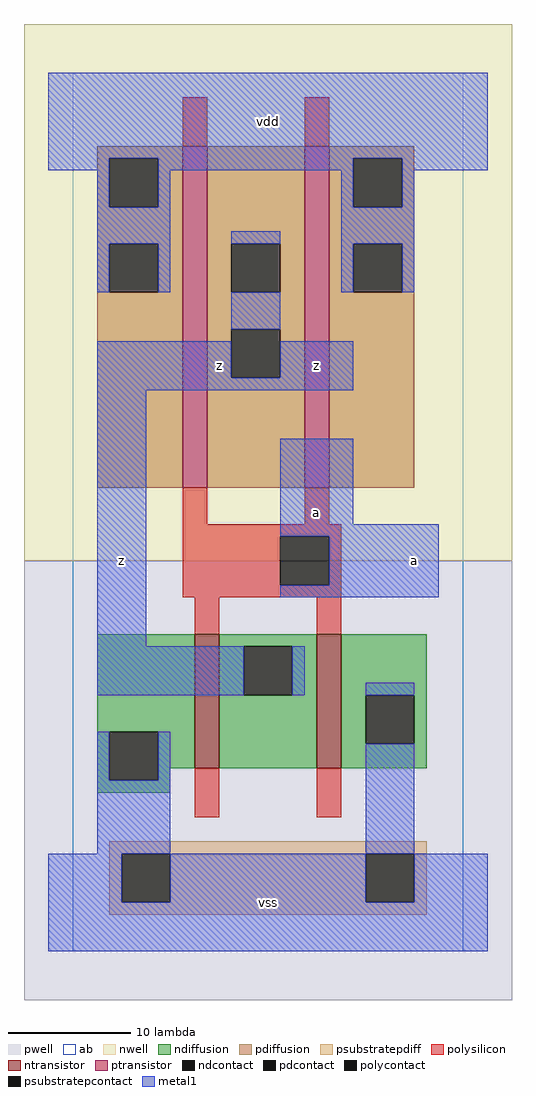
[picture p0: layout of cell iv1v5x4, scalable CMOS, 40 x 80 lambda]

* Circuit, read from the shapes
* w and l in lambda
.subckt iv1v5x4 a vdd vss z
M1 z a vss vss nfet w=11 l=2 m=2
M2 z a vdd n1 pfet w=28 l=2 m=2
.ends

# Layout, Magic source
magic
tech scmos
<< ab >>
rect 0 0 32 72
<< pwell >>
rect -4 -4 36 32
<< nwell >>
rect -4 32 36 76
<< polysilicon >>
rect 9 66 11 70
rect 19 66 21 70
rect 9 35 11 38
rect 19 35 21 38
rect 9 34 22 35
rect 9 30 17 34
rect 21 30 22 34
rect 9 29 22 30
rect 10 26 12 29
rect 20 26 22 29
rect 10 11 12 15
rect 20 11 22 15
<< ndiffusion >>
rect 2 18 10 26
rect 2 14 3 18
rect 7 15 10 18
rect 12 25 20 26
rect 12 21 14 25
rect 18 21 20 25
rect 12 15 20 21
rect 22 21 29 26
rect 22 17 24 21
rect 28 17 29 21
rect 22 15 29 17
rect 7 14 8 15
rect 2 13 8 14
<< pdiffusion >>
rect 2 65 9 66
rect 2 61 3 65
rect 7 61 9 65
rect 2 58 9 61
rect 2 54 3 58
rect 7 54 9 58
rect 2 38 9 54
rect 11 58 19 66
rect 11 54 13 58
rect 17 54 19 58
rect 11 51 19 54
rect 11 47 13 51
rect 17 47 19 51
rect 11 38 19 47
rect 21 65 28 66
rect 21 61 23 65
rect 27 61 28 65
rect 21 58 28 61
rect 21 54 23 58
rect 27 54 28 58
rect 21 38 28 54
<< metal1 >>
rect -2 65 34 72
rect -2 64 3 65
rect 2 61 3 64
rect 7 64 23 65
rect 7 61 8 64
rect 2 58 8 61
rect 22 61 23 64
rect 27 64 34 65
rect 27 61 28 64
rect 2 54 3 58
rect 7 54 8 58
rect 13 58 17 59
rect 22 58 28 61
rect 22 54 23 58
rect 27 54 28 58
rect 13 51 17 54
rect 2 47 13 50
rect 17 47 23 50
rect 2 46 23 47
rect 2 25 6 46
rect 17 35 23 42
rect 17 34 30 35
rect 21 30 30 34
rect 17 29 30 30
rect 2 21 14 25
rect 18 21 19 25
rect 24 21 28 22
rect 2 14 3 18
rect 7 14 8 18
rect 2 8 8 14
rect 24 8 28 17
rect -2 4 4 8
rect 8 4 24 8
rect 28 4 34 8
rect -2 0 34 4
<< ntransistor >>
rect 10 15 12 26
rect 20 15 22 26
<< ptransistor >>
rect 9 38 11 66
rect 19 38 21 66
<< polycontact >>
rect 17 30 21 34
<< ndcontact >>
rect 3 14 7 18
rect 14 21 18 25
rect 24 17 28 21
<< pdcontact >>
rect 3 61 7 65
rect 3 54 7 58
rect 13 54 17 58
rect 13 47 17 51
rect 23 61 27 65
rect 23 54 27 58
<< psubstratepcontact >>
rect 4 4 8 8
rect 24 4 28 8
<< psubstratepdiff >>
rect 3 8 29 9
rect 3 4 4 8
rect 8 4 24 8
rect 28 4 29 8
rect 3 3 29 4
<< labels >>
rlabel metal1 4 32 4 32 6 z
rlabel metal1 12 48 12 48 6 z
rlabel metal1 16 4 16 4 6 vss
rlabel metal1 20 36 20 36 6 a
rlabel metal1 20 48 20 48 6 z
rlabel metal1 16 68 16 68 6 vdd
rlabel metal1 28 32 28 32 6 a
<< end >>
